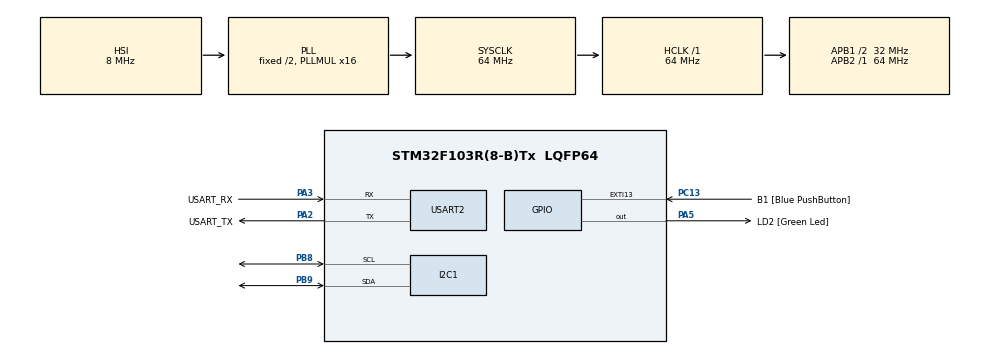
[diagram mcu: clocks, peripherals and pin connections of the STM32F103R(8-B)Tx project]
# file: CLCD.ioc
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Mcu.Family=STM32F1
Mcu.Name=STM32F103R(8-B)Tx
Mcu.Package=LQFP64
NVIC.EXTI15_10_IRQn=true\:0\:0\:false\:false\:true\:true\:true\:true
NVIC.PriorityGroup=NVIC_PRIORITYGROUP_4
PA13.GPIO_Label=TMS
PA13.Mode=Serial_Wire
PA13.Signal=SYS_JTMS-SWDIO
PA14.GPIO_Label=TCK
PA14.Mode=Serial_Wire
PA14.Signal=SYS_JTCK-SWCLK
PA2.GPIO_Label=USART_TX
PA2.GPIO_Mode=GPIO_MODE_AF_PP
PA2.GPIO_PuPd=GPIO_NOPULL
PA2.GPIO_Speed=GPIO_SPEED_FREQ_LOW
PA2.Mode=Asynchronous
PA2.Signal=USART2_TX
PA3.GPIO_Label=USART_RX
PA3.GPIO_Mode=GPIO_MODE_AF_PP
PA3.GPIO_PuPd=GPIO_NOPULL
PA3.GPIO_Speed=GPIO_SPEED_FREQ_LOW
PA3.Mode=Asynchronous
PA3.Signal=USART2_RX
PA5.GPIO_Label=LD2 [Green Led]
PA5.GPIO_ModeDefaultOutputPP=GPIO_MODE_OUTPUT_PP
PA5.GPIO_PuPd=GPIO_NOPULL
PA5.GPIO_Speed=GPIO_SPEED_FREQ_LOW
PA5.Signal=GPIO_Output
PB3.GPIO_Label=SWO
PB3.Signal=SYS_JTDO-TRACESWO
PB8.Mode=I2C
PB8.Signal=I2C1_SCL
PB9.Mode=I2C
PB9.Signal=I2C1_SDA
PC13-TAMPER-RTC.GPIO_Label=B1 [Blue PushButton]
PC13-TAMPER-RTC.GPIO_PuPd=GPIO_NOPULL
PC13-TAMPER-RTC.Signal=GPXTI13
PC14-OSC32_IN.Signal=RCC_OSC32_IN
PC15-OSC32_OUT.Signal=RCC_OSC32_OUT
PD0-OSC_IN.Signal=RCC_OSC_IN
PD1-OSC_OUT.Signal=RCC_OSC_OUT
ProjectManager.HeapSize=0x200
ProjectManager.StackSize=0x400
ProjectManager.TargetToolchain=STM32CubeIDE
RCC.AHBFreq_Value=64000000
RCC.APB1CLKDivider=RCC_HCLK_DIV2
RCC.APB1Freq_Value=32000000
RCC.APB1TimFreq_Value=64000000
RCC.APB2Freq_Value=64000000
RCC.APB2TimFreq_Value=64000000
RCC.HCLKFreq_Value=64000000
RCC.PLLMUL=RCC_PLL_MUL16
RCC.RTCClockSelection=RCC_RTCCLKSOURCE_LSE
RCC.SYSCLKFreq_VALUE=64000000
RCC.SYSCLKSource=RCC_SYSCLKSOURCE_PLLCLK
RCC.USBFreq_Value=64000000
USART2.VirtualMode=VM_ASYNC
board=NUCLEO-F103RB

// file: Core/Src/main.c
/* USER CODE BEGIN Header */
/**
  ******************************************************************************
  * @file           : main.c
  * @brief          : Main program body
  ******************************************************************************
  * @attention
  *
  * Copyright (c) 2025 STMicroelectronics.
  * All rights reserved.
  *
  * This software is licensed under terms that can be found in the LICENSE file
  * in the root directory of this software component.
  * If no LICENSE file comes with this software, it is provided AS-IS.
  *
  ******************************************************************************
  */
/* USER CODE END Header */
#include "main.h"

/* USER CODE BEGIN Includes */
#include <stdio.h>
/* USER CODE END Includes */

/* USER CODE BEGIN PD */
#define delay_ms HAL_Delay

//#define ADDRESS   0x3F << 1
#define ADDRESS   0x27 << 1

#define RS1_EN1   0x05
#define RS1_EN0   0x01
#define RS0_EN1   0x04
#define RS0_EN0   0x00
#define BackLight 0x08
/* USER CODE END PD */

I2C_HandleTypeDef hi2c1;

UART_HandleTypeDef huart2;

/* USER CODE BEGIN PV */
int delay = 0;
int value = 0;
/* USER CODE END PV */

void SystemClock_Config(void);
static void MX_GPIO_Init(void);
static void MX_USART2_UART_Init(void);
static void MX_I2C1_Init(void);

/* USER CODE BEGIN PFP */
void I2C_ScanAddresses(void);

void delay_us(int us);
void LCD_DATA(uint8_t data);
void LCD_CMD(uint8_t cmd);
void LCD_CMD_4bit(uint8_t cmd);
void LCD_INIT(void);
void LCD_XY(char x, char y);
void LCD_CLEAR(void);
void LCD_PUTS(char *str);
/* USER CODE END PFP */

/* USER CODE BEGIN 0 */
#ifdef __GNUC__
/* With GCC, small printf (option LD Linker->Libraries->Small printf
   set to 'Yes') calls __io_putchar() */
#define PUTCHAR_PROTOTYPE int __io_putchar(int ch)
#else
#define PUTCHAR_PROTOTYPE int fputc(int ch, FILE *f)
#endif /* __GNUC__ */

/**
  * @brief  Retargets the C library printf function to the USART.
  * @param  None
  * @retval None
  */
PUTCHAR_PROTOTYPE
{
  /* Place your implementation of fputc here */
  /* e.g. write a character to the USART1 and Loop until the end of transmission */
  if (ch == '\n')
    HAL_UART_Transmit (&huart2, (uint8_t*) "\r", 1, 0xFFFF);
  HAL_UART_Transmit (&huart2, (uint8_t*) &ch, 1, 0xFFFF);

  return ch;
}

void I2C_ScanAddresses(void) {
    HAL_StatusTypeDef result;
    uint8_t i;

    printf("Scanning I2C addresses...\r\n");

    for (i = 1; i < 128; i++) {
        /*
         * HAL_I2C_IsDeviceReady: If a device at the specified address exists return HAL_OK.
         * Since I2C devices must have an 8-bit address, the 7-bit address is shifted left by 1 bit.
         */
        result = HAL_I2C_IsDeviceReady(&hi2c1, (uint16_t)(i << 1), 1, 10);
        if (result == HAL_OK) {
            printf("I2C device found at address 0x%02X\r\n", i);
        }
    }

    printf("Scan complete.\r\n");
}

void delay_us(int us){
	value = 3;
	delay = us * value;
	for(int i=0;i < delay;i++);
}

void LCD_DATA(uint8_t data) {
	uint8_t temp=(data & 0xF0)|RS1_EN1|BackLight;

	while(HAL_I2C_Master_Transmit(&hi2c1, ADDRESS, &temp, 1, 1000)!=HAL_OK);
	temp=(data & 0xF0)|RS1_EN0|BackLight;
	while(HAL_I2C_Master_Transmit(&hi2c1, ADDRESS, &temp, 1, 1000)!=HAL_OK);
	delay_us(4);

	temp=((data << 4) & 0xF0)|RS1_EN1|BackLight;
	while(HAL_I2C_Master_Transmit(&hi2c1, ADDRESS, &temp, 1, 1000)!=HAL_OK);
	temp = ((data << 4) & 0xF0)|RS1_EN0|BackLight;
	while(HAL_I2C_Master_Transmit(&hi2c1, ADDRESS, &temp, 1, 1000)!=HAL_OK);
	delay_us(50);
}

void LCD_CMD(uint8_t cmd) {
	uint8_t temp=(cmd & 0xF0)|RS0_EN1|BackLight;
	while(HAL_I2C_Master_Transmit(&hi2c1, ADDRESS, &temp, 1, 1000)!=HAL_OK);
	temp=(cmd & 0xF0)|RS0_EN0|BackLight;
	while(HAL_I2C_Master_Transmit(&hi2c1, ADDRESS, &temp, 1, 1000)!=HAL_OK);
	delay_us(4);

	temp=((cmd << 4) & 0xF0)|RS0_EN1|BackLight;
	while(HAL_I2C_Master_Transmit(&hi2c1, ADDRESS, &temp, 1, 1000)!=HAL_OK);
	temp=((cmd << 4) & 0xF0)|RS0_EN0|BackLight;
	while(HAL_I2C_Master_Transmit(&hi2c1, ADDRESS, &temp, 1, 1000)!=HAL_OK);
	delay_us(50);
}

void LCD_CMD_4bit(uint8_t cmd) {
	uint8_t temp=((cmd << 4) & 0xF0)|RS0_EN1|BackLight;
	while(HAL_I2C_Master_Transmit(&hi2c1, ADDRESS, &temp, 1, 1000)!=HAL_OK);
	temp=((cmd << 4) & 0xF0)|RS0_EN0|BackLight;
	while(HAL_I2C_Master_Transmit(&hi2c1, ADDRESS, &temp, 1, 1000)!=HAL_OK);
	delay_us(50);
}

void LCD_INIT(void) {

	delay_ms(100);

	LCD_CMD_4bit(0x03); delay_ms(5);
	LCD_CMD_4bit(0x03); delay_us(100);
	LCD_CMD_4bit(0x03); delay_us(100);
	LCD_CMD_4bit(0x02); delay_us(100);
	LCD_CMD(0x28);  // 4 bits, 2 line, 5x8 font
	LCD_CMD(0x08);  // display off, cursor off, blink off
	LCD_CMD(0x01);  // clear display
	delay_ms(3);
	LCD_CMD(0x06);  // cursor movint direction
	LCD_CMD(0x0C);  // display on, cursor off, blink off
}

void LCD_XY(char x, char y) {
	if      (y == 0) LCD_CMD(0x80 + x);
	else if (y == 1) LCD_CMD(0xC0 + x);
	else if (y == 2) LCD_CMD(0x94 + x);
	else if (y == 3) LCD_CMD(0xD4 + x);
}

void LCD_CLEAR(void) {
	LCD_CMD(0x01);
	delay_ms(2);
}

void LCD_PUTS(char *str) {
	while (*str) LCD_DATA(*str++);
}
/* USER CODE END 0 */

int main(void)
{

  /* MCU Configuration--------------------------------------------------------*/

  /* Reset of all peripherals, Initializes the Flash interface and the Systick. */
  HAL_Init();

  /* Configure the system clock */
  SystemClock_Config();

  /* Initialize all configured peripherals */
  MX_GPIO_Init();
  MX_USART2_UART_Init();
  MX_I2C1_Init();
  /* USER CODE BEGIN 2 */
  I2C_ScanAddresses();

//  LCD_INIT();
//  LCD_XY(0, 0) ; LCD_PUTS((char *)"LCD Display test");
//  LCD_XY(0, 1) ; LCD_PUTS((char *)"Hello World.....");

  /* USER CODE END 2 */

  /* Infinite loop */
  /* USER CODE BEGIN WHILE */
  while (1)
  {
	    LCD_INIT();
	    LCD_XY(0, 0) ; LCD_PUTS((char *)"LCD Display test");
	    LCD_XY(0, 1) ; LCD_PUTS((char *)"Hello World.....");
    /* USER CODE END WHILE */

  }
}

void SystemClock_Config(void)
{
  RCC_OscInitTypeDef RCC_OscInitStruct = {0};
  RCC_ClkInitTypeDef RCC_ClkInitStruct = {0};

  /** Initializes the RCC Oscillators according to the specified parameters
  * in the RCC_OscInitTypeDef structure.
  */
  RCC_OscInitStruct.OscillatorType = RCC_OSCILLATORTYPE_HSI;
  RCC_OscInitStruct.HSIState = RCC_HSI_ON;
  RCC_OscInitStruct.HSICalibrationValue = RCC_HSICALIBRATION_DEFAULT;
  RCC_OscInitStruct.PLL.PLLState = RCC_PLL_ON;
  RCC_OscInitStruct.PLL.PLLSource = RCC_PLLSOURCE_HSI_DIV2;
  RCC_OscInitStruct.PLL.PLLMUL = RCC_PLL_MUL16;
  if (HAL_RCC_OscConfig(&RCC_OscInitStruct) != HAL_OK)
  {
    Error_Handler();
  }

  /** Initializes the CPU, AHB and APB buses clocks
  */
  RCC_ClkInitStruct.ClockType = RCC_CLOCKTYPE_HCLK|RCC_CLOCKTYPE_SYSCLK
                              |RCC_CLOCKTYPE_PCLK1|RCC_CLOCKTYPE_PCLK2;
  RCC_ClkInitStruct.SYSCLKSource = RCC_SYSCLKSOURCE_PLLCLK;
  RCC_ClkInitStruct.AHBCLKDivider = RCC_SYSCLK_DIV1;
  RCC_ClkInitStruct.APB1CLKDivider = RCC_HCLK_DIV2;
  RCC_ClkInitStruct.APB2CLKDivider = RCC_HCLK_DIV1;

  if (HAL_RCC_ClockConfig(&RCC_ClkInitStruct, FLASH_LATENCY_2) != HAL_OK)
  {
    Error_Handler();
  }
}

static void MX_I2C1_Init(void)
{

  hi2c1.Instance = I2C1;
  hi2c1.Init.ClockSpeed = 100000;
  hi2c1.Init.DutyCycle = I2C_DUTYCYCLE_2;
  hi2c1.Init.OwnAddress1 = 0;
  hi2c1.Init.AddressingMode = I2C_ADDRESSINGMODE_7BIT;
  hi2c1.Init.DualAddressMode = I2C_DUALADDRESS_DISABLE;
  hi2c1.Init.OwnAddress2 = 0;
  hi2c1.Init.GeneralCallMode = I2C_GENERALCALL_DISABLE;
  hi2c1.Init.NoStretchMode = I2C_NOSTRETCH_DISABLE;
  if (HAL_I2C_Init(&hi2c1) != HAL_OK)
  {
    Error_Handler();
  }

}

static void MX_USART2_UART_Init(void)
{

  huart2.Instance = USART2;
  huart2.Init.BaudRate = 115200;
  huart2.Init.WordLength = UART_WORDLENGTH_8B;
  huart2.Init.StopBits = UART_STOPBITS_1;
  huart2.Init.Parity = UART_PARITY_NONE;
  huart2.Init.Mode = UART_MODE_TX_RX;
  huart2.Init.HwFlowCtl = UART_HWCONTROL_NONE;
  huart2.Init.OverSampling = UART_OVERSAMPLING_16;
  if (HAL_UART_Init(&huart2) != HAL_OK)
  {
    Error_Handler();
  }

}

static void MX_GPIO_Init(void)
{
  GPIO_InitTypeDef GPIO_InitStruct = {0};

  /* GPIO Ports Clock Enable */
  __HAL_RCC_GPIOC_CLK_ENABLE();
  __HAL_RCC_GPIOD_CLK_ENABLE();
  __HAL_RCC_GPIOA_CLK_ENABLE();
  __HAL_RCC_GPIOB_CLK_ENABLE();

  /*Configure GPIO pin Output Level */
  HAL_GPIO_WritePin(LD2_GPIO_Port, LD2_Pin, GPIO_PIN_RESET);

  /*Configure GPIO pin : B1_Pin */
  GPIO_InitStruct.Pin = B1_Pin;
  GPIO_InitStruct.Mode = GPIO_MODE_IT_RISING;
  GPIO_InitStruct.Pull = GPIO_NOPULL;
  HAL_GPIO_Init(B1_GPIO_Port, &GPIO_InitStruct);

  /*Configure GPIO pin : LD2_Pin */
  GPIO_InitStruct.Pin = LD2_Pin;
  GPIO_InitStruct.Mode = GPIO_MODE_OUTPUT_PP;
  GPIO_InitStruct.Pull = GPIO_NOPULL;
  GPIO_InitStruct.Speed = GPIO_SPEED_FREQ_LOW;
  HAL_GPIO_Init(LD2_GPIO_Port, &GPIO_InitStruct);

  /* EXTI interrupt init*/
  HAL_NVIC_SetPriority(EXTI15_10_IRQn, 0, 0);
  HAL_NVIC_EnableIRQ(EXTI15_10_IRQn);

}

void Error_Handler(void)
{
  __disable_irq();
  while (1)
  {
  }
}
